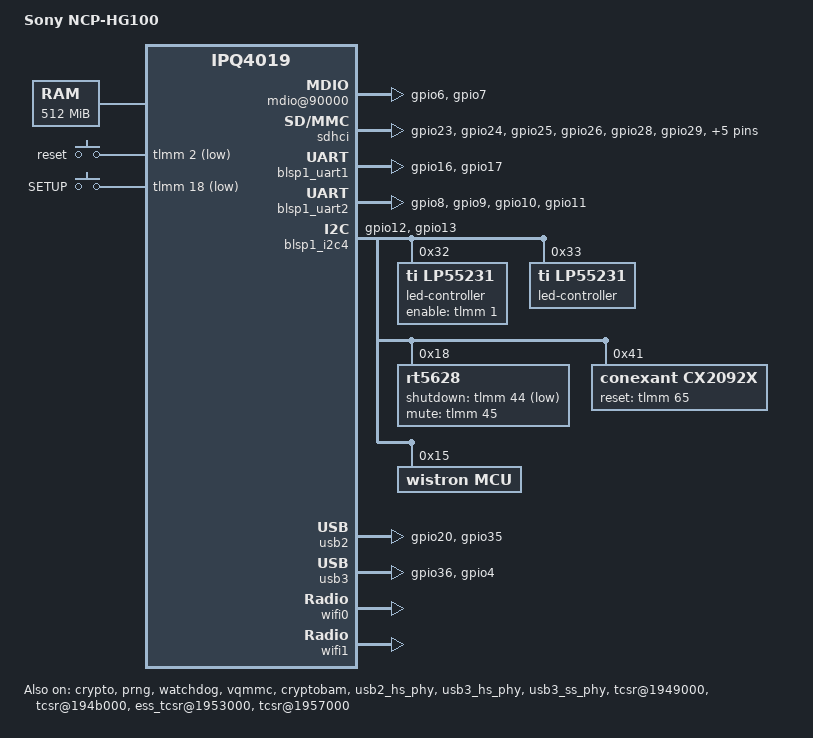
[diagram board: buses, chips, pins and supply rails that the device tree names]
// SPDX-License-Identifier: GPL-2.0-only OR MIT

#include "qcom-ipq4019.dtsi"
#include <dt-bindings/gpio/gpio.h>
#include <dt-bindings/input/input.h>
#include <dt-bindings/soc/qcom,tcsr.h>

/ {
	model = "Sony NCP-HG100";
	compatible = "sony,ncp-hg100", "qcom,ipq4019";

	chosen {
		bootargs-append = " root=/dev/mmcblk0p16 rootfstype=squashfs,f2fs clk_ignore_unused";
	};

	memory {
		device_type = "memory";
		reg = <0x80000000 0x20000000>; /* 512MB */
	};

	soc {
		mdio@90000 {
			status = "okay";
			pinctrl-0 = <&mdio_pins>;
			pinctrl-names = "default";
			phy-reset-gpio = <&tlmm 41 0>;
			bias-disable;
		};

		tcsr@1949000 {
			status = "okay";
			compatible = "qcom,tcsr";
			reg = <0x1949000 0x100>;
			qcom,wifi_glb_cfg = <TCSR_WIFI_GLB_CFG>;
		};

		tcsr@194b000 {
			status = "okay";
			compatible = "qcom,tcsr";
			reg = <0x194b000 0x100>;
			qcom,usb-hsphy-mode-select = <TCSR_USB_HSPHY_HOST_MODE>;
		};

		ess_tcsr@1953000 {
			status = "okay";
			compatible = "qcom,tcsr";
			reg = <0x1953000 0x1000>;
			qcom,ess-interface-select = <TCSR_ESS_PSGMII>;
		};

		tcsr@1957000 {
			status = "okay";
			compatible = "qcom,tcsr";
			reg = <0x1957000 0x100>;
			qcom,wifi_noc_memtype_m0_m2 = <TCSR_WIFI_NOC_MEMTYPE_M0_M2>;
		};

		ess-psgmii@98000 {
			status = "okay";
		};

		dma@7984000 {
			status = "okay";
		};

		edma@c080000 {
			status = "okay";
		};

		ess-switch@c000000 {
			status = "okay";
			switch_mac_mode = <0x0>; /* mac mode for RGMII RMII */
			switch_initvlas = <0x0007c 0x54>; /* PORT0_STATUS */
		};
	};

	gpio-keys {
		compatible = "gpio_keys";
		pinctrl-0 = <&gpiokey_pins>;
		pinctrl-names = "default";
		autorepeat;
		volup {
			label = "Volume Up";
			linux,code = <KEY_VOLUMEUP>;
			gpios = <&tlmm 39 GPIO_ACTIVE_HIGH>;
			linux,input-type = <EV_KEY>;
		};
		voldown {
			label = "Volume Down";
			linux,code = <KEY_VOLUMEDOWN>;
			gpios = <&tlmm 40 GPIO_ACTIVE_HIGH>;
			linux,input-type = <EV_KEY>;
		};
		alexatrigger {
			label = "Alexa Trigger";
			linux,code = <BTN_TRIGGER_HAPPY>;
			gpios = <&tlmm 42 GPIO_ACTIVE_HIGH>;
			linux,input-type = <EV_KEY>;
		};
		mute {
			label = "Mute";
			linux,code = <SW_MUTE_DEVICE>;
			gpios = <&tlmm 47 GPIO_ACTIVE_LOW>;
			linux,input-type = <EV_SW>;
		};
	};

	keys {
		compatible = "gpio-keys";
		reset {
			label = "reset";
			gpios = <&tlmm 2 GPIO_ACTIVE_LOW>;
			linux,code = <KEY_RESTART>;
		};
		wps {
			label = "SETUP";
			gpios = <&tlmm 18 GPIO_ACTIVE_LOW>;
			linux,code = <KEY_WPS_BUTTON>;
		};
	};

};

/*
 TOP Level Mode. Multiplexer (TLMM)
 //Right, I don't get it.
*/
&tlmm {
	pinctrl-0 = <&bt_pins>, <&pcm_pins>;
	pinctrl-names = "default";

	helios_pins: helios_pinmux {
		UART0_CTRL { //1 = UART0 as debug console ; 0 = UART0 as Zwave UART
			pins = "gpio15";
			function = "gpio";
			output-high;
		};
	};

	serial_pins: serial_pinmux {
		mux {
			pins = "gpio16", "gpio17";
			function = "blsp_uart0";
			bias-disable;
		};
	};

	zwave_pins: zwave_pinmux {
		mux { //Active low to reset the ZWAVE (at least 20ns)
			pins = "gpio59";
			function = "gpio";
			output-high;
		};
	};

	serial_1_pins: serial1_pinmux {
		mux {
			pins = "gpio8", "gpio9",
				"gpio10", "gpio11";
			function = "blsp_uart1";
			bias-disable;
		};
	};

	bt_pins: bt_pinmux {
		RST { //Active low to reset the BT
			pins = "gpio66";
			function = "gpio";
			output-high;
		};
		VREG_EN { //1 = BT power on ; 0 = BT power off
			pins = "gpio68";
			function = "gpio";
			output-high;
		};
	};

	mdio_pins: mdio_pinmux {
		mux_1 {
			pins = "gpio6";
			function = "mdio";
			bias-pull-up;
		};
		mux_2 {
			pins = "gpio7";
			function = "mdc";
			bias-pull-up;
		};
	};

	i2c_1_pins: i2c_1_pinmux {
		mux {
			pins = "gpio12", "gpio13";
			function = "blsp_i2c1";
			bias-disable;
		};
	};

	gpiokey_pins: gpiokey_pinmux {
		mux_1 {
			pins = "gpio39", "gpio40", "gpio42", "gpio47";
			function = "gpio";
			bias-disable;
		};
		mux_2 {
			pins = "gpio2";
			function = "gpio";
			input;
		};
	};

	sd_pins: sd_pins {
		pinmux {
			function = "sdio";
			pins = "gpio23", "gpio24", "gpio25", "gpio26",
				"gpio28", "gpio29", "gpio30", "gpio31";
			drive-strength = <4>;
		};
		pinmux_sd_clk {
			function = "sdio";
			pins = "gpio27";
			drive-strength = <16>;
		};
		pinmux_sd7 {
			function = "sdio";
			pins = "gpio32";
			drive-strength = <4>;
			bias-disable;
		};
	};

	pcm_pins: pcm_pinmux {
		mux { //Audio PCM interface for BT
			pins = "gpio48", "gpio49", "gpio50", "gpio51";
			function = "aud_pin";
		};
	};

	audio_gpio_pins: audio_gpio_pinmux {
		mux_1 {
			pins = "gpio53";
			function = "gpio";
			output-high;
		};
		mux_2 {
			pins = "gpio57";
			function = "gpio";
			output-high;
		};
		mux_3 {
			pins = "gpio54";
			function = "gpio";
			output-high;
		};
	};

	audio_pins: audio_pinmux {
		mux_1 {
			pins = "gpio53";
			function = "i2s_tx_bclk";
		};
		mux_2 {
			pins = "gpio57";
			function = "i2s_tx_fsync";
		};
		mux_3 {
			pins = "gpio54";
			function = "i2s_td1";
		};
	};

	audio1_gpio_pins: audio1_gpio_pinmux {
		mux_1 {
			pins = "gpio60";
			function = "gpio";
			output-high;
		};
		mux_2 {
			pins = "gpio61";
			function = "gpio";
			output-high;
		};
		mux_3 {
			pins = "gpio63";
			function = "gpio";
			output-high;
		};
	};

	audio1_pins: audio1_pinmux {
		mux_1 {
			pins = "gpio60";
			function = "i2s_rx_bclk";
		};
		mux_2 {
			pins = "gpio61";
			function = "i2s_rx_fsync";
		};
		mux_3 {
			pins = "gpio63";
			function = "i2s_rxd";
		};
	};

	alc1304_pins: alc1304_pinmux {
		mux_1 {
			pins = "gpio44";
			function = "gpio";
			bias-disable;
		};
		mux_2 {
			pins = "gpio45";
			function = "gpio";
			bias-disable;
		};
	};

	cx2902x_reset: cx2902x_pinmux {
		mux_1 {
			pins = "gpio64";
			function = "gpio";
			bias-disable;
		};
		mux_2 {
			pins = "gpio65";
			function = "gpio";
			bias-disable;
		};
	};

	usb2_pins: usb2_pinmux {
		lte_en {
			pins = "gpio20";
			function = "gpio";
			output-high;
		};

		lte_reset {
			pins = "gpio35";
			function = "gpio";
			input;
		};
	};

	usb3_pins: usb3_pinmux {
		usb_en {
			pins = "gpio36";
			function = "gpio";
			output-high;
		};
		usb_reset {
			pins = "gpio4";
			function = "gpio";
			input;
		};
	};

	mcu_pins: mcu_pinmux { // mcu-i2c.c
		mcu_en {
			pins = "gpio38";
			function = "gpio";
			output-low;
		};
		mcu_reset {
			pins = "gpio5";
			function = "gpio";
			output-high;
		};
	};
};

&crypto {
	status = "okay";
};

&prng {
	status = "okay";
};

&watchdog {
	status = "okay";
};

/* emmc */
&vqmmc {
	status = "okay";
};

&sdhci {
	status = "okay";
	pinctrl-0 = <&sd_pins>;
	pinctrl-names = "default";
	cd-gpios = <&tlmm 22 GPIO_ACTIVE_LOW>;
	vqmmc-supply = <&vqmmc>;
};

/*
 BAM(Boot Assist Module)
 BLSP(BAM Low Speed Peripheral)
*/
&blsp_dma {
	status = "okay";
};

&cryptobam {
	status = "okay";
};

&blsp1_uart1 {
	pinctrl-0 = <&serial_pins>;
	pinctrl-names = "default";
	status = "okay";
};

&blsp1_uart2 {
	pinctrl-0 = <&serial_1_pins>;
	pinctrl-names = "default";
	status = "okay";
};

&blsp1_i2c4 { /* i2c1 */
/*
0x14 CY8C(CY8C4014LQ) front-touchkey
0x15 mcu(MINI54FDE) thermal/fan controller
0x18 DAC(ALC5629)
0x31 LED(LP55231)
0x32 LED
  led1:WAN,  led2 LAN
  led3:2.4G, led4 5G
  led5:NET,  led6 CLOUD
0x41 mic(CX20924)
*/
	pinctrl-0 = <&i2c_1_pins>;
	pinctrl-names = "default";
	status = "okay";

	led-controller@32 {
		compatible = "ti,lp55231";
		reg = <0x32>;
		clock-mode = /bits/ 8 <0>; /* LP55XX_CLOCK_AUTO */
		enable-gpio = <&tlmm 1 GPIO_ACTIVE_HIGH>;

		chan0 {
			chan-name = "wan:green";
			led-cur = /bits/ 8 <50>;
			max-cur = /bits/ 8 <100>;
		};

		chan1 {
			chan-name = "wan:blue";
			led-cur = /bits/ 8 <50>;
			max-cur = /bits/ 8 <100>;
		};

		chan2 {
			chan-name = "lan:green";
			led-cur = /bits/ 8 <50>;
			max-cur = /bits/ 8 <100>;
		};

		chan3 {
			chan-name = "lan:blue";
			led-cur = /bits/ 8 <50>;
			max-cur = /bits/ 8 <100>;
		};

		chan4 {
			chan-name = "wlan0:green";
			led-cur = /bits/ 8 <50>;
			max-cur = /bits/ 8 <100>;
		};

		chan5 {
			chan-name = "wlan0:blue";
			led-cur = /bits/ 8 <50>;
			max-cur = /bits/ 8 <100>;
		};

		chan6 {
			chan-name = "wan:red";
			led-cur = /bits/ 8 <50>;
			max-cur = /bits/ 8 <100>;
		};

		chan7 {
			chan-name = "lan:red";
			led-cur = /bits/ 8 <50>;
			max-cur = /bits/ 8 <100>;
		};

		chan8 {
			chan-name = "wlan0:red";
			led-cur = /bits/ 8 <50>;
			max-cur = /bits/ 8 <100>;
		};
	};

	led-controller@33 {
		compatible = "ti,lp55231";
		reg = <0x33>;
		clock-mode = /bits/ 8 <0>;

		chan0 {
			chan-name = "wlan1:green";
			led-cur = /bits/ 8 <50>;
			max-cur = /bits/ 8 <100>;
		};

		chan1 {
			chan-name = "wlan1:blue";
			led-cur = /bits/ 8 <50>;
			max-cur = /bits/ 8 <100>;
		};

		chan2 {
			chan-name = "internet:green";
			led-cur = /bits/ 8 <50>;
			max-cur = /bits/ 8 <100>;
		};

		chan3 {
			chan-name = "internet:blue";
			led-cur = /bits/ 8 <50>;
			max-cur = /bits/ 8 <100>;
		};

		chan4 {
			chan-name = "cloud:green";
			led-cur = /bits/ 8 <50>;
			max-cur = /bits/ 8 <100>;
		};

		chan5 {
			chan-name = "cloud:blue";
			led-cur = /bits/ 8 <50>;
			max-cur = /bits/ 8 <100>;
		};

		chan6 {
			chan-name = "wlan1:red";
			led-cur = /bits/ 8 <50>;
			max-cur = /bits/ 8 <100>;
		};

		chan7 {
			chan-name = "internet:red";
			led-cur = /bits/ 8 <50>;
			max-cur = /bits/ 8 <100>;
		};

		chan8 {
			chan-name = "cloud:red";
			led-cur = /bits/ 8 <50>;
			max-cur = /bits/ 8 <100>;
		};
	};

/* no kernel drivers */
	rt5628@18 {
		compatible = "rt5628";
		reg = <0x18>;
		status = "okay";
		pinctrl-0 = <&alc1304_pins>;
		pinctrl-names = "default";
		shutdown-gpio = <&tlmm 44 GPIO_ACTIVE_LOW>;
		mute-gpio = <&tlmm 45 GPIO_ACTIVE_HIGH>;
	};

	conexant@41 {
		compatible = "conexant,cx2092x";
		reg = <0x41>;
		conexant,name = "cx2092x";
		reset-gpio = <&tlmm 65 GPIO_ACTIVE_HIGH>;
		pinctrl-0 = <&cx2902x_reset>;
		pinctrl-names = "default";
	};

	mcu@15 {
		compatible = "wistron,mcu";
		reg = <0x15>;
		pinctrl-0 = <&mcu_pins>;
		pinctrl-names = "default";
	};
};

&usb2 {
	status = "okay";

	pinctrl-0 = <&usb2_pins>;
	pinctrl-names = "default";
};

&usb2_hs_phy {
	status = "okay";
};

&usb3 {
	status = "okay";

	pinctrl-0 = <&usb3_pins>;
	pinctrl-names = "default";
};

&usb3_hs_phy {
	status = "okay";
};

&usb3_ss_phy {
	status = "okay";
};

&wifi0 {
	status = "okay";
	qcom,ath10k-calibration-variant = "Sony_NCP-HG100";
};

&wifi1 {
	status = "okay";
	qcom,ath10k-calibration-variant = "Sony_NCP-HG100";
};
